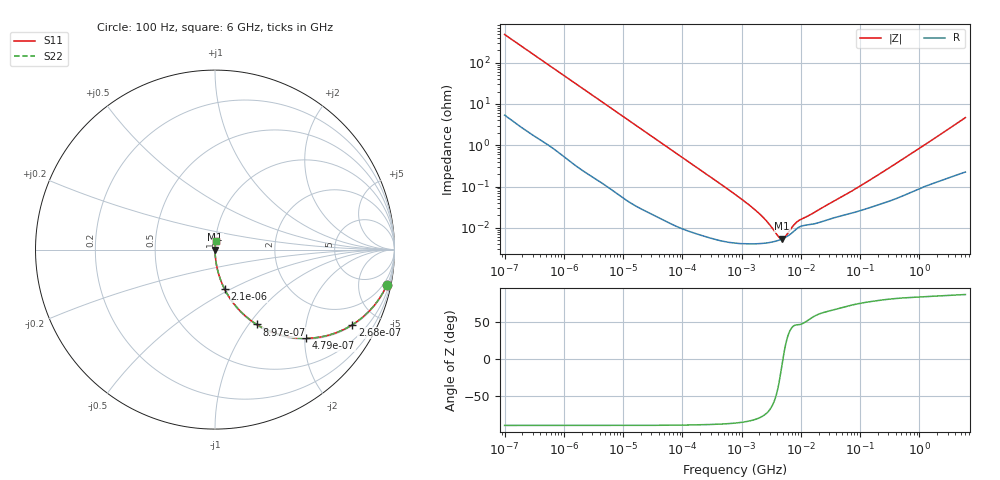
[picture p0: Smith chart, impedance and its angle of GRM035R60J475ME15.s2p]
!Murata Part Number: GRM035R60J475ME15
!These Parameters are Measured in Series Mode Connection
!Data Generated on Mar 30, 2021
!  o--ll--o
!Port1  Port2
!  o------o
!Operation Temp=25[degC], DC Bias Voltage=0[V]
!Freq. Start=100[Hz] Stop=6[GHz] 401[Steps]
# Hz S RI R 50
!Freq.(Hz) S11(Real) S11(Imag) S21(Real) S21(Imag) S12(Real) S12(Imag) S22(Real) S22(Imag)
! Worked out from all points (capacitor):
!   401 points, 100 Hz to 6 GHz, reference 50 ohm
!   read as one part in series: C = 3.29 uF near 109 Hz
!   lowest |Z| = 5.41 mohm at 4.857 MHz (marker M1)
!   series resonance near 4.991 MHz, so ESL is about 310 pH
!   S11 on the Smith chart (normalised r, x): 100 Hz: 1.11, -9.66; 268 Hz: 1.04, -3.63; 479 Hz: 1.02, -2.04; 897 Hz: 1.01, -1.09; 2.1 kHz: 1.00, -0.47; 6 GHz: 1.00, +0.09
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100  0.9569 -0.1977  0.0431 0.1977  0.0431 0.1977  0.9569 -0.1977
164  0.8951 -0.301  0.1049 0.301  0.1049 0.301  0.8951 -0.301
268  0.765 -0.4187  0.235 0.4187  0.235 0.4187  0.765 -0.4187
479  0.5093 -0.4943  0.4907 0.4943  0.4907 0.4943  0.5093 -0.4943
656  0.3595 -0.4743  0.6405 0.4743  0.6405 0.4743  0.3595 -0.4743
897  0.2329 -0.4172  0.7671 0.4172  0.7671 0.4172  0.2329 -0.4172
1283  0.1307 -0.3319  0.8693 0.3319  0.8693 0.3319  0.1307 -0.3319
2008  0.059 -0.2305  0.941 0.2305  0.941 0.2305  0.059 -0.2305
2100  0.0543 -0.2216  0.9457 0.2216  0.9457 0.2216  0.0543 -0.2216
6728  0.00621 -0.0734  0.9938 0.0734  0.9938 0.0734  0.00621 -0.0734
40335  0.000329 -0.0125  0.9997 0.0125  0.9997 0.0125  0.000329 -0.0125
774597  4.29e-05 -0.000647  1 0.000647  1 0.000647  4.29e-05 -0.000647
1813585  4.11e-05 -0.000246  1 0.000246  1 0.000246  4.11e-05 -0.000246
3245845  4.51e-05 -9.09e-05  1 9.09e-05  1 9.09e-05  4.51e-05 -9.09e-05
3549919  4.64e-05 -7.11e-05  1 7.11e-05  1 7.11e-05  4.64e-05 -7.11e-05
4856642  5.38e-05 -5.5e-06  0.9999 5.5e-06  0.9999 5.5e-06  5.38e-05 -5.5e-06
6948629  7.36e-05 6.59e-05  0.9999 -6.59e-05  0.9999 -6.59e-05  7.36e-05 6.59e-05
9506416  0.000105 0.000112  0.9999 -0.000112  0.9999 -0.000112  0.000105 0.000112
1.555665e7  0.000122 0.000183  0.9999 -0.000183  0.9999 -0.000183  0.000122 0.000183
7.455971e7  0.00023 0.000762  0.9998 -0.000762  0.9998 -0.000762  0.00023 0.000762
3.124326e8  0.000451 0.00281  0.9995 -0.00281  0.9995 -0.00281  0.000451 0.00281
6e9  0.0044 0.0463  0.9956 -0.0463  0.9956 -0.0463  0.0044 0.0463
